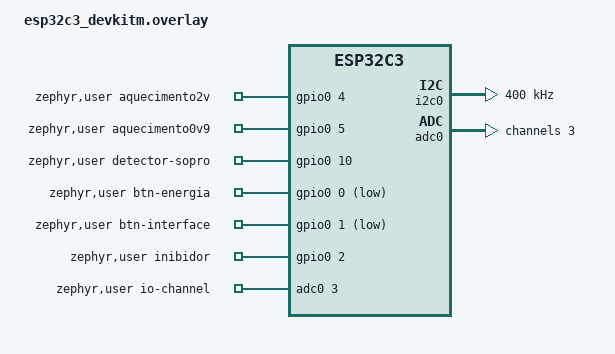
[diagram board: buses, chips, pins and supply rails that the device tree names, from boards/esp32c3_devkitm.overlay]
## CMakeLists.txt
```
cmake_minimum_required(VERSION 3.20.0)

find_package(Zephyr REQUIRED HINTS $ENV{ZEPHYR_BASE})
project(bafometro)

include(${CMAKE_CURRENT_SOURCE_DIR}/fontes.cmake)

target_include_directories(app PRIVATE ${BAFOMETRO_INCLUDES})
target_sources(app PRIVATE src/main.c ${BAFOMETRO_FONTES})
target_sources_ifdef(CONFIG_BAFOMETRO_ROTEIRO_SIMULACAO app PRIVATE src/simulacao/roteiro.c)
```

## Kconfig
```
menu "Bafômetro"

config BAFOMETRO_TEMPOS_REDUZIDOS
	bool "Tempos de espera reduzidos"
	help
	  Divide por 10 os tempos de pré-aquecimento, espera pelo sopro,
	  apresentação, recuperação e acomodação, para demonstrações em
	  hardware. A coleta de 5 s e os períodos de amostragem não mudam.

config BAFOMETRO_ROTEIRO_SIMULACAO
	bool "Roteiro de simulação"
	default y if BOARD_NATIVE_SIM
	depends on GPIO_EMUL
	help
	  Percorre o fluxo completo no native_sim, acionando o detector pelo
	  GPIO emulado e enviando comandos pela fila de eventos, e encerra a
	  simulação ao final.

endmenu

source "Kconfig.zephyr"
```

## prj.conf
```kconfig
# Máquina de estados e entradas digitais
CONFIG_SMF=y
CONFIG_GPIO=y
CONFIG_ADC=y

# Registro de eventos
CONFIG_LOG=y
CONFIG_LOG_DEFAULT_LEVEL=3

CONFIG_MAIN_STACK_SIZE=2048
```

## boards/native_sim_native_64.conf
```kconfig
# Simulação o mais rápido possível; para tempo real, execute com --rt.
CONFIG_NATIVE_SIM_SLOWDOWN_TO_REAL_TIME=n
```

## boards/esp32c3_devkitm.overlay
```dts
/*
 * ESP32-C3-DevKitM-1: pinagem de docs/hardware.md.
 * Para simular um sopro, ligue o GPIO10 ao 3V3.
 */

#include <zephyr/dt-bindings/pinctrl/esp32c3-pinctrl.h>
#include <zephyr/dt-bindings/adc/adc.h>
#include <zephyr/dt-bindings/gpio/gpio.h>
#include <zephyr/dt-bindings/i2c/i2c.h>

&pinctrl {
	i2c0_bafometro: i2c0_bafometro {
		group1 {
			pinmux = <I2C0_SDA_GPIO6>, <I2C0_SCL_GPIO7>;
			bias-pull-up;
			drive-open-drain;
			output-high;
		};
	};
};

/* A placa habilita o SPI2 em GPIO2/6/7/10, que conflita com o I2C e o detector. */
&spi2 {
	status = "disabled";
};

&i2c0 {
	status = "okay";
	pinctrl-0 = <&i2c0_bafometro>; /* a placa usa GPIO1/GPIO3 por padrão; GPIO3 é o ADC */
	pinctrl-names = "default";
	clock-frequency = <I2C_BITRATE_FAST>; /* 400 kbit/s */
};

&adc0 {
	status = "okay";
	#address-cells = <1>;
	#size-cells = <0>;

	channel@3 {
		reg = <3>; /* ADC1_CH3 = GPIO3 */
		zephyr,gain = "ADC_GAIN_1_4"; /* atenuação 11 dB -> 0..2500 mV */
		zephyr,reference = "ADC_REF_INTERNAL"; /* única referência aceita */
		zephyr,acquisition-time = <ADC_ACQ_TIME_DEFAULT>; /* não parametrizável */
		zephyr,resolution = <12>; /* única resolução no C3 */
	};
};

/ {
	zephyr,user {
		io-channels = <&adc0 3>;
		/* Polaridade dos enables do aquecedor: confirmar no esquemático. */
		aquecimento2v-gpios = <&gpio0 4 GPIO_ACTIVE_HIGH>;
		aquecimento0v9-gpios = <&gpio0 5 GPIO_ACTIVE_HIGH>;
		detector-sopro-gpios = <&gpio0 10 (GPIO_ACTIVE_HIGH | GPIO_PULL_DOWN)>;
		btn-energia-gpios = <&gpio0 0 (GPIO_ACTIVE_LOW | GPIO_PULL_UP)>;
		btn-interface-gpios = <&gpio0 1 (GPIO_ACTIVE_LOW | GPIO_PULL_UP)>;
		/*
		 * PROVISÓRIO: GPIO2 (strapping, com pull-up externo); com driver ativo em
		 * nível alto, o reset coincide com "inibindo". Ver docs/hardware.md.
		 */
		inibidor-gpios = <&gpio0 2 GPIO_ACTIVE_HIGH>;
	};
};
```

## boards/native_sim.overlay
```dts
/*
 * Detector de sopro no GPIO emulado do native_sim (pino 0).
 * O roteiro de simulação e os testes o acionam com gpio_emul_input_set().
 */

#include <zephyr/dt-bindings/gpio/gpio.h>

/ {
	zephyr,user {
		detector-sopro-gpios = <&gpio0 0 GPIO_ACTIVE_HIGH>;
	};
};
```

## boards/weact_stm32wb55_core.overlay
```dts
/*
 * Provisório até a etapa 8: o botão BOOT (PH3) faz o papel do detector de sopro
 * e o sensor é lido em PA0 (ADC1_IN5, já roteado pela placa). Sem pinos de
 * aquecedor e inibidor, esses módulos só registram em LOG.
 */

#include <zephyr/dt-bindings/adc/adc.h>
#include <zephyr/dt-bindings/gpio/gpio.h>

&adc1 {
	#address-cells = <1>;
	#size-cells = <0>;

	channel@5 {
		reg = <5>;
		zephyr,gain = "ADC_GAIN_1";
		zephyr,reference = "ADC_REF_INTERNAL";
		zephyr,acquisition-time = <ADC_ACQ_TIME_DEFAULT>;
		zephyr,resolution = <12>;
	};
};

/ {
	zephyr,user {
		io-channels = <&adc1 5>;
		detector-sopro-gpios = <&gpioh 3 (GPIO_ACTIVE_HIGH | GPIO_PULL_DOWN)>;
	};
};
```

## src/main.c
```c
/*
 * Bafômetro: ponto de entrada. A única thread da aplicação processa a fila
 * de eventos e executa a máquina de estados.
 */

#include <zephyr/kernel.h>

#include "aplicacao/bafometro.h"

int main(void)
{
	(void)bafometro_iniciar();

	while (true) {
		(void)bafometro_processarProximoEvento(K_FOREVER);
	}

	return 0;
}
```

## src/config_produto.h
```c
/*
 * Parâmetros do produto: fonte única dos valores usados pela aplicação.
 * A origem de cada valor está em docs/arquitetura/arquitetura-firmware.md.
 * Só macros: este arquivo é incluído também pelo domínio, que não depende do Zephyr.
 */

#ifndef BAFOMETRO_CONFIG_PRODUTO_H
#define BAFOMETRO_CONFIG_PRODUTO_H

#if defined(CONFIG_BAFOMETRO_TEMPOS_REDUZIDOS)
#define FATOR_REDUCAO_TEMPO 10U
#else
#define FATOR_REDUCAO_TEMPO 1U
#endif

/*
 * Esperas do fluxo, divididas pelo fator de redução.
 * Pré-aquecimento: o datasheet do MQ303B (v1.4) pede 2,0 V por 5 a 10 s antes da detecção.
 */
#define TEMPO_PRE_AQUECIMENTO_MS  (10000U / FATOR_REDUCAO_TEMPO) /* datasheet: 5 a 10 s */
#define TEMPO_ESPERA_SOPRO_MS     (20000U / FATOR_REDUCAO_TEMPO) /* requisito; origem a citar */
#define TEMPO_APRESENTACAO_MS     (10000U / FATOR_REDUCAO_TEMPO) /* proposta */
#define TEMPO_MIN_ENTRE_TESTES_MS (30000U / FATOR_REDUCAO_TEMPO) /* PROVISÓRIO */
#define TEMPO_ACOMODACAO_FASE_MS  (500U / FATOR_REDUCAO_TEMPO)   /* PROVISÓRIO */

/* Medição (não são reduzidos) */
#define TEMPO_SOPRO_MINIMO_MS     5000U
#define PERIODO_AMOSTRAGEM_MS     50U   /* proposta: 20 Hz */
#define TOLERANCIA_QUEDA_SOPRO_MS 150U  /* proposta: queda acumulada tolerada durante a coleta */
#define PERIODO_CONTAGEM_MS       1000U /* contagem regressiva na tela */
#define TEMPO_TRANSIENTE_MS       2000U /* proposta: início da coleta descartado no cálculo */
#define JANELA_MEDIA_MOVEL        8U    /* proposta: faixa de 8 a 16 */
#define QTD_MAXIMA_AMOSTRAS       110U  /* 5 s a 50 ms, com margem */

/*
 * Circuito de medição do MQ303B. PREMISSA a confirmar na placa (docs/hardware.md):
 * VCC - Rs (sensor) - nó do ADC - RL - GND, com o ADC lendo VRL, a tensão sobre RL.
 * O datasheet define a saída como VRL, mas não fixa de que lado RL fica. Com RL do
 * lado de VCC, o ADC leria a tensão sobre o sensor: mudariam a fórmula de Rs e o lado
 * da guarda de tensão.
 */
#define TENSAO_ALIMENTACAO_MV  3300.0f
#define RESISTENCIA_CARGA_OHMS 3300.0f

/*
 * Guardas do divisor. Abaixo de TENSAO_MINIMA_VALIDA_MV a leitura está fora do que o
 * circuito mede: sensor desconectado ou frio, ou Rs acima de ~105 kΩ com RL = 3,3 kΩ.
 * O ADC do ESP32-C3 a 11 dB erra até ±35 mV, então leituras menores não distinguem
 * sensor de circuito aberto. PROVISÓRIO: confirmar na bancada (ADR 0002).
 */
#define TENSAO_MINIMA_VALIDA_MV 100.0f
#define MARGEM_TENSAO_VALIDA_MV 1.0f /* protótipo: rejeita leituras a 1 mV de VCC */

/* Conversão: mg/L = ppm / 500 (protótipo; superestima de 6 a 9 % frente ao gás ideal) */
#define FATOR_PPM_PARA_MGL 500.0f

/* Qualidade: coeficiente de variação do trecho estável, em % (a revalidar) */
#define QUALIDADE_CV_EXCELENTE_PCT 2.0f
#define QUALIDADE_CV_BOA_PCT       5.0f
#define QUALIDADE_CV_ACEITAVEL_PCT 10.0f

/* Calibração do R0 */
#define QTD_AMOSTRAS_CALIBRACAO             60U
#define INTERVALO_CALIBRACAO_MS             100U
#define PORCENTAGEM_MINIMA_AMOSTRAS_VALIDAS 50U    /* protótipo */
#define R0_PADRAO_OHMS                      24000U /* valor do protótipo */

/*
 * Faixa de validade do R0 (RF13). PROVISÓRIO até a bancada (ADR 0002):
 * - mínimo: rejeita calibração com álcool no ar; com 50 ppm (Rs/R0 = 0,18) o R0
 *   do protótipo sairia 4,3 kΩ;
 * - máximo: maior Rs que o circuito mede com a guarda de TENSAO_MINIMA_VALIDA_MV.
 */
#define FAIXA_R0_MIN_OHMS 10000U
#define FAIXA_R0_MAX_OHMS 100000U

/*
 * Inibição, em milésimos de mg/L. PROVISÓRIO: definir pelo método da banda de guarda.
 * A curva começa em 50 ppm (0,100 mg/L): ar limpo é medido como 0,100 mg/L, então
 * só há liberação se LIMITE - HISTERESE for maior que 100.
 */
#define LIMITE_INIBICAO_MILESIMOS_MGL     150U
#define HISTERESE_LIBERACAO_MILESIMOS_MGL 20U

/* Fila de eventos */
#define QTD_POSICOES_FILA_EVENTOS 8

/* Derivados */
#define QTD_TIQUES_PRE_AQUECIMENTO (TEMPO_PRE_AQUECIMENTO_MS / PERIODO_CONTAGEM_MS)
#define QTD_TIQUES_COLETA          (TEMPO_SOPRO_MINIMO_MS / PERIODO_AMOSTRAGEM_MS)
#define QTD_AMOSTRAS_TRANSIENTE    (TEMPO_TRANSIENTE_MS / PERIODO_AMOSTRAGEM_MS)

#endif /* BAFOMETRO_CONFIG_PRODUTO_H */
```
